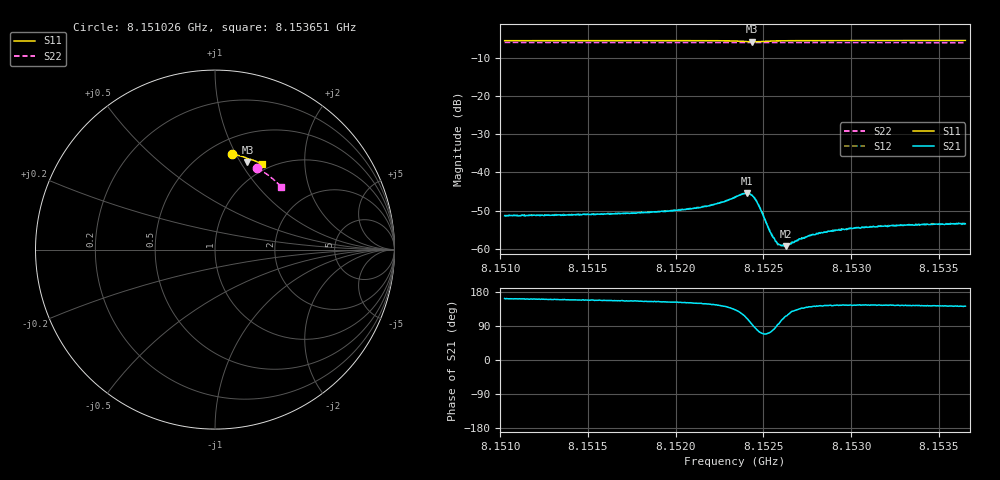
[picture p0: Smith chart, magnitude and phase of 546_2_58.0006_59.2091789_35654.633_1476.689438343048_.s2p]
#  HZ  S  RI  R  50.00
! Rohde & Schwarz Vector Network Analyzer
! Rohde-Schwarz,ZNB20-2Port,1311601062101988,3.16
! Created: UTC 3/21/2024, 1:14:48 AM
! freq[Hz]  re:S11  im:S11  re:S21  im:S21  re:S12  im:S12  re:S22  im:S22
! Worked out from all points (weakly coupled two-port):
!   401 points, 8.151026 GHz to 8.153651 GHz, reference 50 ohm
!   highest |S21| = -45.51 dB at 8.152404 GHz (marker M1); lowest = -59.3 dB at 8.152627 GHz (marker M2)
!   lowest |S11| = -5.7 dB at 8.152437 GHz (marker M3), VSWR 3.18, Z = 40 + j53.7 ohm
!   |S11| at or under -10 dB: nowhere
!   |S22| runs from -5.9 to -5.8 dB; largest |S21 - S12| = 0.00013
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8.151026e9  0.0926 0.5313  -0.00258 0.000825  -0.00258 0.000883  0.2357 0.4537
8.1514657e9  0.1229 0.5258  -0.00257 0.00104  -0.00261 0.00107  0.2601 0.4396
8.1519055e9  0.1537 0.5182  -0.00275 0.00132  -0.00275 0.00141  0.2835 0.4239
8.1520433e9  0.1636 0.5152  -0.00284 0.00155  -0.00287 0.0016  0.2907 0.4189
8.1521812e9  0.1743 0.5109  -0.00306 0.00191  -0.00305 0.002  0.2979 0.4136
8.1522599e9  0.1807 0.5073  -0.00322 0.00242  -0.00323 0.00248  0.3019 0.4103
8.1523387e9  0.1869 0.5007  -0.00319 0.00346  -0.0032 0.00355  0.3059 0.4072
8.1523781e9  0.1881 0.4952  -0.00274 0.00436  -0.00271 0.00447  0.3076 0.4055
8.1524043e9  0.1865 0.4912  -0.00192 0.00494  -0.00186 0.00502  0.3089 0.4044
8.1524372e9  0.1808 0.4888  -0.000279 0.00495  -0.000234 0.00498  0.3101 0.4031
8.1524568e9  0.1777 0.4906  0.000544 0.00431  0.000603 0.00434  0.311 0.4025
8.1524765e9  0.1761 0.4938  0.000971 0.00345  0.000979 0.00344  0.3119 0.4018
8.1525356e9  0.1801 0.5016  0.000522 0.00161  0.000559 0.00167  0.315 0.3998
8.1525619e9  0.1835 0.503  0.000201 0.00136  0.000217 0.00133  0.3164 0.3988
8.1525881e9  0.1863 0.5036  -0.000107 0.00113  -0.000132 0.00109  0.3178 0.3978
8.1526144e9  0.1891 0.5037  -0.000368 0.00104  -0.00033 0.00103  0.3191 0.3968
8.1526275e9  0.1905 0.5036  -0.000467 0.000973  -0.000454 0.000986  0.3195 0.396
8.1527785e9  0.2034 0.5011  -0.00119 0.000966  -0.00117 0.000965  0.3272 0.3899
8.1529557e9  0.2164 0.4967  -0.00148 0.00102  -0.00146 0.00105  0.3355 0.3823
8.1530279e9  0.2213 0.4946  -0.00154 0.0011  -0.00151 0.0011  0.339 0.3792
8.1532182e9  0.2339 0.4893  -0.00162 0.00114  -0.00161 0.00118  0.3477 0.3709
8.1536514e9  0.2613 0.4762  -0.00167 0.0013  -0.00164 0.00135  0.3668 0.3512
